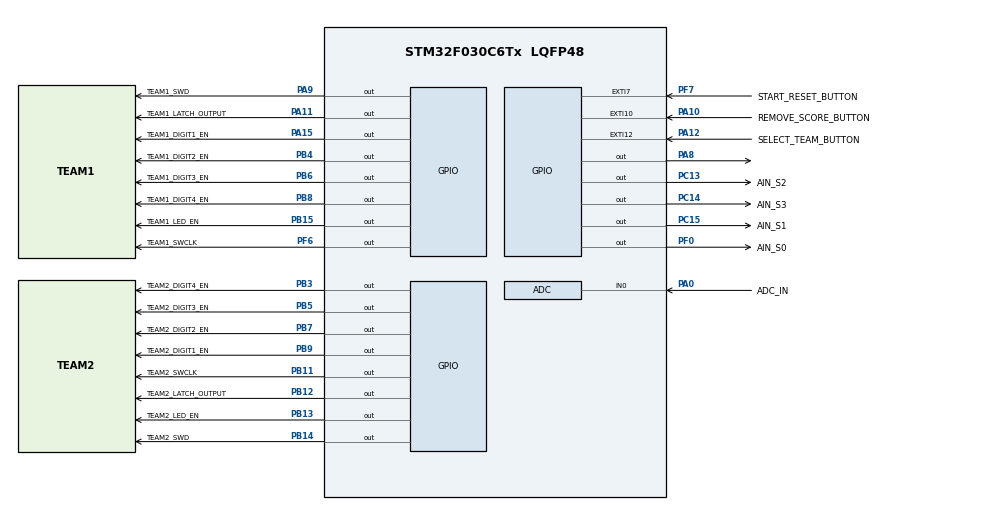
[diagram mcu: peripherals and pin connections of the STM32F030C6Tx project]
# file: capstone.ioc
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ADC.ClockPrescaler=ADC_CLOCK_ASYNC_DIV1
ADC.ContinuousConvMode=ENABLE
ADC.DMAContinuousRequests=ENABLE
Dma.ADC.0.Direction=DMA_PERIPH_TO_MEMORY
Dma.ADC.0.Instance=DMA1_Channel1
Dma.ADC.0.MemDataAlignment=DMA_MDATAALIGN_HALFWORD
Dma.ADC.0.MemInc=DMA_MINC_ENABLE
Dma.ADC.0.Mode=DMA_CIRCULAR
Dma.ADC.0.PeriphDataAlignment=DMA_PDATAALIGN_HALFWORD
Dma.ADC.0.PeriphInc=DMA_PINC_DISABLE
Dma.ADC.0.Priority=DMA_PRIORITY_LOW
Dma.Request0=ADC
Mcu.Family=STM32F0
Mcu.Name=STM32F030C6Tx
Mcu.Package=LQFP48
NVIC.DMA1_Channel1_IRQn=true\:0\:0\:false\:false\:true\:false\:true\:true
NVIC.TIM1_BRK_UP_TRG_COM_IRQn=true\:0\:0\:false\:false\:true\:true\:true\:true
NVIC.TIM1_CC_IRQn=true\:0\:0\:false\:false\:true\:true\:true\:true
NVIC.TIM3_IRQn=true\:0\:0\:false\:false\:true\:true\:true\:true
PA0.GPIO_Label=ADC_IN
PA0.Mode=IN0
PA0.Signal=ADC_IN0
PA10.GPIO_Label=REMOVE_SCORE_BUTTON
PA10.GPIO_ModeDefaultEXTI=GPIO_MODE_IT_FALLING
PA10.GPIO_PuPd=GPIO_PULLUP
PA10.Signal=GPXTI10
PA11.GPIO_Label=TEAM1_LATCH_OUTPUT
PA11.GPIO_PuPd=GPIO_PULLDOWN
PA11.Signal=GPIO_Output
PA12.GPIO_Label=SELECT_TEAM_BUTTON
PA12.GPIO_ModeDefaultEXTI=GPIO_MODE_IT_FALLING
PA12.GPIO_PuPd=GPIO_PULLUP
PA12.Signal=GPXTI12
PA13.GPIO_Label=SWDIO
PA13.Mode=Serial_Wire
PA13.Signal=SYS_SWDIO
PA14.GPIO_Label=SWCLK
PA14.Mode=Serial_Wire
PA14.Signal=SYS_SWCLK
PA15.GPIO_Label=TEAM1_DIGIT1_EN
PA15.GPIO_PuPd=GPIO_PULLDOWN
PA15.Signal=GPIO_Output
PA8.GPIO_PuPd=GPIO_PULLDOWN
PA8.Signal=GPIO_Output
PA9.GPIO_Label=TEAM1_SWD
PA9.GPIO_PuPd=GPIO_PULLDOWN
PA9.Signal=GPIO_Output
PB11.GPIO_Label=TEAM2_SWCLK
PB11.GPIO_PuPd=GPIO_PULLDOWN
PB11.Signal=GPIO_Output
PB12.GPIO_Label=TEAM2_LATCH_OUTPUT
PB12.GPIO_PuPd=GPIO_PULLDOWN
PB12.Signal=GPIO_Output
PB13.GPIO_Label=TEAM2_LED_EN
PB13.GPIO_PuPd=GPIO_PULLDOWN
PB13.Signal=GPIO_Output
PB14.GPIO_Label=TEAM2_SWD
PB14.GPIO_PuPd=GPIO_PULLDOWN
PB14.Signal=GPIO_Output
PB15.GPIO_Label=TEAM1_LED_EN
PB15.GPIO_PuPd=GPIO_PULLDOWN
PB15.Signal=GPIO_Output
PB3.GPIO_Label=TEAM2_DIGIT4_EN
PB3.GPIO_PuPd=GPIO_PULLDOWN
PB3.Signal=GPIO_Output
PB4.GPIO_Label=TEAM1_DIGIT2_EN
PB4.GPIO_PuPd=GPIO_PULLDOWN
PB4.Signal=GPIO_Output
PB5.GPIO_Label=TEAM2_DIGIT3_EN
PB5.GPIO_PuPd=GPIO_PULLDOWN
PB5.Signal=GPIO_Output
PB6.GPIO_Label=TEAM1_DIGIT3_EN
PB6.GPIO_PuPd=GPIO_PULLDOWN
PB6.Signal=GPIO_Output
PB7.GPIO_Label=TEAM2_DIGIT2_EN
PB7.GPIO_PuPd=GPIO_PULLDOWN
PB7.Signal=GPIO_Output
PB8.GPIO_Label=TEAM1_DIGIT4_EN
PB8.GPIO_PuPd=GPIO_PULLDOWN
PB8.Signal=GPIO_Output
PB9.GPIO_Label=TEAM2_DIGIT1_EN
PB9.GPIO_PuPd=GPIO_PULLDOWN
PB9.Signal=GPIO_Output
PC13.GPIO_Label=AIN_S2
PC13.GPIO_PuPd=GPIO_PULLDOWN
PC13.Signal=GPIO_Output
PC14-OSC32_IN.GPIO_Label=AIN_S3
PC14-OSC32_IN.GPIO_PuPd=GPIO_PULLDOWN
PC14-OSC32_IN.Signal=GPIO_Output
PC15-OSC32_OUT.GPIO_Label=AIN_S1
PC15-OSC32_OUT.GPIO_PuPd=GPIO_PULLDOWN
PC15-OSC32_OUT.Signal=GPIO_Output
PF0-OSC_IN.GPIO_Label=AIN_S0
PF0-OSC_IN.GPIO_PuPd=GPIO_PULLDOWN
PF0-OSC_IN.Signal=GPIO_Output
PF6.GPIO_Label=TEAM1_SWCLK
PF6.GPIO_PuPd=GPIO_PULLDOWN
PF6.Signal=GPIO_Output
PF7.GPIO_Label=START_RESET_BUTTON
PF7.GPIO_ModeDefaultEXTI=GPIO_MODE_IT_FALLING
PF7.GPIO_PuPd=GPIO_PULLUP
PF7.Signal=GPXTI7
ProjectManager.HeapSize=0x200
ProjectManager.StackSize=0x400
ProjectManager.TargetToolchain=STM32CubeIDE
TIM1.Period=50
TIM1.Prescaler=8000
TIM3.Period=3000
TIM3.Prescaler=8000
VP_TIM1_VS_ClockSourceINT.Mode=Internal
VP_TIM3_VS_ClockSourceINT.Mode=Internal
board=custom

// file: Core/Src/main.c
/* USER CODE BEGIN Header */
/**
  ******************************************************************************
  * @file           : main.c
  * @brief          : Main program body
  ******************************************************************************
  * @attention
  *
  * Copyright (c) 2024 STMicroelectronics.
  * All rights reserved.
  *
  * This software is licensed under terms that can be found in the LICENSE file
  * in the root directory of this software component.
  * If no LICENSE file comes with this software, it is provided AS-IS.
  *
  ******************************************************************************
  */
/* USER CODE END Header */
#include "main.h"
#include "adc.h"
#include "dma.h"
#include "tim.h"
#include "gpio.h"

/* USER CODE BEGIN Includes */
#include <math.h>
#include <stdbool.h>
#include <stdlib.h>
/* USER CODE END Includes */

/* USER CODE BEGIN PTD */
enum StartButtonRole
{
  RESTART,
  BEGIN,
  NONE
};
/* USER CODE END PTD */

/* USER CODE BEGIN PD */
void updateLEDs();
int getWeight(int);
void displayScore();
bool bounceFree(GPIO_TypeDef*, uint16_t);
void beginGame();
void restartGame();
void blinkScore();
void initializeBaseWeights();
int digitToHexDisplay(int);
void flashDigit(GPIO_TypeDef*, uint16_t, int);
int getRawWeight(int);
/* USER CODE END PD */

/* USER CODE BEGIN PV */
// Variables to help button logics
enum StartButtonRole startRole = BEGIN;
bool isSettingUp = true;

// Variables to help game logics
uint32_t adcValue = 0;
int holeScores[9] = { 50, 150, 75, 300, 500, 200, 25, 100, 25 };
int baseWeights[9] = { 0, 0, 0, 0, 0, 0, 0, 0, 0 };
int weightPerBag = 0;
int currentTeam = 1;
int team1Score = 123;
int team1TargetScore = 0;
int team1SetTargetScore = 0;
int team2Score = 0;
int team2TargetScore = 0;
int team2SetTargetScore = 0;

// See if buttons were pressed or held
bool startButtonPressed = false;
bool startButtonHeld = false;
bool selectTeamButtonPressed = false;
bool addScoreButtonPressed = false;
bool removeScoreButtonPressed = false;
bool addAndRemoveScoreButtonsHeld = false;
bool switchingTeam = false;
/* USER CODE END PV */

void SystemClock_Config(void);

int main(void)
{

  /* MCU Configuration--------------------------------------------------------*/

  /* Reset of all peripherals, Initializes the Flash interface and the Systick. */
  HAL_Init();

  /* Configure the system clock */
  SystemClock_Config();

  /* Initialize all configured peripherals */
  MX_GPIO_Init();
  MX_DMA_Init();
  MX_ADC_Init();
  MX_TIM1_Init();
  MX_TIM3_Init();
  /* USER CODE BEGIN 2 */
  HAL_ADCEx_Calibration_Start(&hadc);
  HAL_ADC_Start_DMA(&hadc, &adcValue, 1);
  HAL_TIM_Base_Start_IT(&htim1);
  HAL_TIM_Base_Stop_IT(&htim1);
  HAL_TIM_Base_Start_IT(&htim3);
  HAL_TIM_Base_Stop_IT(&htim3);
  initializeBaseWeights();
  /* USER CODE END 2 */

  /* Infinite loop */
  /* USER CODE BEGIN WHILE */
  while (1)
  {
    // ========== Game Logic ==========
    if (startRole == NONE)
    {
      // Calculate the total score from all holes
      int totalScore = 0;
      for (int i = 0; i < 9; i++)
      {
        totalScore += round(getWeight(i) / weightPerBag) * holeScores[i];
      }

      if (!switchingTeam)
      {
        if (currentTeam == 1)
        {
          // Game ends
          if (totalScore == team1TargetScore)
          {
            team1Score = 0;
            blinkScore();
          }
          else if (totalScore < team1TargetScore)
          {
            team1Score = team1TargetScore - totalScore;
          }
          else
          {
            if (currentTeam != 1) { continue; }
            team1Score = team1TargetScore;
            updateLEDs();
            blinkScore();
          }
        }
        else
        {
          // Game ends
          if (totalScore == team2TargetScore)
          {
            team2Score = 0;
            blinkScore();
          }
          else if (totalScore < team2TargetScore)
          {
            team2Score = team2TargetScore - totalScore;
          }
          else
          {
            if (currentTeam != 2) { continue; }
            team2Score = team2TargetScore;
            updateLEDs();
            blinkScore();
          }
        }
      }
      else
      {
        switchingTeam = totalScore != 0;
      }
    }

    // ========== Update the LEDs ==========
    team1TargetScore = getRawWeight(1);
    updateLEDs();
    displayScore();

    // ========== Button logics ==========
    // Reset
    if (startButtonHeld)
    {
      restartGame();
      startButtonHeld = false;
      __HAL_TIM_SET_COUNTER(&htim1, 0);
      while (HAL_GPIO_ReadPin(START_RESET_BUTTON_GPIO_Port, START_RESET_BUTTON_Pin) == GPIO_PIN_RESET);
      startButtonPressed = false;
    }
    // Start
    else if (startButtonPressed && bounceFree(START_RESET_BUTTON_GPIO_Port, START_RESET_BUTTON_Pin))
    {
      switch (startRole)
      {
        case RESTART:
          restartGame();
          break;
        case BEGIN:
          beginGame();
          break;
        default: break;
      }

      startButtonPressed = false;
    }
    // Calibrate
    else if (addAndRemoveScoreButtonsHeld && startRole == BEGIN)
    {
      isSettingUp = false;
      currentTeam = 1;
      weightPerBag = getWeight(0);
      team1Score = weightPerBag;
      addScoreButtonPressed = false;
    }
    // Select team
    else if (selectTeamButtonPressed && bounceFree(SELECT_TEAM_BUTTON_GPIO_Port, SELECT_TEAM_BUTTON_Pin))
    {
      if (currentTeam == 1)
      {
        currentTeam = 2;
        if (startRole == NONE)
        {
          team1TargetScore = team1Score;
          if (team1Score == 0) { startRole = RESTART; }
        }
      }
      else
      {
        currentTeam = 1;
        if (startRole == NONE)
        {
          team2TargetScore = team2Score;
          if (team2Score == 0) { startRole = RESTART; }
        }
      }

      switchingTeam = true;
      selectTeamButtonPressed = false;
    }
    // Add score
    else if(addScoreButtonPressed && bounceFree(ADD_SCORE_BUTTON_GPIO_Port, ADD_SCORE_BUTTON_Pin))
    {
      if (isSettingUp)
      {
        if (currentTeam == 1) { if (team1SetTargetScore < 9000) { team1SetTargetScore += 100; } }
        else if (team2SetTargetScore < 9000) { team2SetTargetScore += 100; }
      }
      // Manually adjust the score
      else
      {
        if (currentTeam == 1) { if (team1TargetScore < 9975) { team1TargetScore += 25; } }
        else if (team2TargetScore < 9975) { team2TargetScore += 25; }
      }
      addScoreButtonPressed = false;
    }
    // Remove score
    else if (removeScoreButtonPressed && bounceFree(REMOVE_SCORE_BUTTON_GPIO_Port, REMOVE_SCORE_BUTTON_Pin))
    {
      if (isSettingUp)
      {
        if (currentTeam == 1) { if (team1SetTargetScore >= 100) { team1SetTargetScore -= 100; } }
        else if (team2SetTargetScore >= 100) { team2SetTargetScore -= 100; }
      }
      // Manually adjust the score
      else
      {
        if (currentTeam == 1) { if (team1TargetScore >= 25) { team1TargetScore -= 25; } }
        else if (team2TargetScore >= 25) { team2TargetScore -= 25; }
      }
      removeScoreButtonPressed = false;
    }

    // Stop the "held for 3s" timers if the button is released early
    if (HAL_GPIO_ReadPin(START_RESET_BUTTON_GPIO_Port, START_RESET_BUTTON_Pin) == GPIO_PIN_SET)
    {
      __HAL_TIM_SET_COUNTER(&htim1, 0);
    }
    if (HAL_GPIO_ReadPin(ADD_SCORE_BUTTON_GPIO_Port, ADD_SCORE_BUTTON_Pin) == GPIO_PIN_SET)
//    if (HAL_GPIO_ReadPin(ADD_SCORE_BUTTON_GPIO_Port, ADD_SCORE_BUTTON_Pin) == GPIO_PIN_SET ||
//        HAL_GPIO_ReadPin(REMOVE_SCORE_BUTTON_GPIO_Port, REMOVE_SCORE_BUTTON_Pin) == GPIO_PIN_SET)
    {
      __HAL_TIM_SET_COUNTER(&htim3, 0);
    }
    /* USER CODE END WHILE */

  }
}

void SystemClock_Config(void)
{
  RCC_OscInitTypeDef RCC_OscInitStruct = {0};
  RCC_ClkInitTypeDef RCC_ClkInitStruct = {0};

  /** Initializes the RCC Oscillators according to the specified parameters
  * in the RCC_OscInitTypeDef structure.
  */
  RCC_OscInitStruct.OscillatorType = RCC_OSCILLATORTYPE_HSI|RCC_OSCILLATORTYPE_HSI14;
  RCC_OscInitStruct.HSIState = RCC_HSI_ON;
  RCC_OscInitStruct.HSI14State = RCC_HSI14_ON;
  RCC_OscInitStruct.HSICalibrationValue = RCC_HSICALIBRATION_DEFAULT;
  RCC_OscInitStruct.HSI14CalibrationValue = 16;
  RCC_OscInitStruct.PLL.PLLState = RCC_PLL_NONE;
  if (HAL_RCC_OscConfig(&RCC_OscInitStruct) != HAL_OK)
  {
    Error_Handler();
  }

  /** Initializes the CPU, AHB and APB buses clocks
  */
  RCC_ClkInitStruct.ClockType = RCC_CLOCKTYPE_HCLK|RCC_CLOCKTYPE_SYSCLK
                              |RCC_CLOCKTYPE_PCLK1;
  RCC_ClkInitStruct.SYSCLKSource = RCC_SYSCLKSOURCE_HSI;
  RCC_ClkInitStruct.AHBCLKDivider = RCC_SYSCLK_DIV1;
  RCC_ClkInitStruct.APB1CLKDivider = RCC_HCLK_DIV1;

  if (HAL_RCC_ClockConfig(&RCC_ClkInitStruct, FLASH_LATENCY_0) != HAL_OK)
  {
    Error_Handler();
  }
}

/* USER CODE BEGIN 4 */
void updateLEDs()
{
  HAL_GPIO_WritePin(TEAM1_LED_EN_GPIO_Port, TEAM1_LED_EN_Pin, (GPIO_PinState) (currentTeam == 1));
  HAL_GPIO_WritePin(TEAM2_LED_EN_GPIO_Port, TEAM2_LED_EN_Pin, (GPIO_PinState) (currentTeam == 2));
}

// Reset the game
void restartGame()
{
  startRole = BEGIN;
  isSettingUp = true;
  currentTeam = 1;
  startButtonPressed = false;
  startButtonHeld = false;
  selectTeamButtonPressed = false;
  addScoreButtonPressed = false;
  removeScoreButtonPressed = false;
  addAndRemoveScoreButtonsHeld = false;
  switchingTeam = false;
  initializeBaseWeights();

  // Stop the timers and reset their counters
  HAL_TIM_Base_Stop_IT(&htim1);
  __HAL_TIM_SET_COUNTER(&htim1, 0);
  HAL_TIM_Base_Stop_IT(&htim3);
  __HAL_TIM_SET_COUNTER(&htim3, 0);
}

// Get the total weight on the FSR, including the base
int getRawWeight(int fsrNum)
{
  // Set the MUX to get value from the interested FSR
  HAL_GPIO_WritePin(AIN_S0_GPIO_Port, AIN_S0_Pin, (GPIO_PinState) ((fsrNum >> 0) & 1));
  HAL_GPIO_WritePin(AIN_S1_GPIO_Port, AIN_S1_Pin, (GPIO_PinState) ((fsrNum >> 1) & 1));
  HAL_GPIO_WritePin(AIN_S2_GPIO_Port, AIN_S2_Pin, (GPIO_PinState) ((fsrNum >> 2) & 1));
  HAL_GPIO_WritePin(AIN_S3_GPIO_Port, AIN_S3_Pin, (GPIO_PinState) ((fsrNum >> 3) & 1));

  adcValue = HAL_ADC_GetValue(&hadc);
//  return exp((adcValue - 1384.04) / 307.17) + 19.98;
  return adcValue;
}

// Get the bean bag weight, excluding the base
int getWeight(int fsrNum)
{
  return getRawWeight(fsrNum) - baseWeights[fsrNum];
}

void initializeBaseWeights()
{
  for (int i = 0; i < 9; i++)
  {
    baseWeights[i] = getRawWeight(i);
  }
}

// Display an error message - The meaning of each error is documented in the manual
void displayError(int errorNumber)
{
  int currentTick = HAL_GetTick();
  while (HAL_GetTick() - currentTick < 2000)
  {
    flashDigit(TEAM1_DIGIT1_EN_GPIO_Port, TEAM1_DIGIT1_EN_Pin, 0b1001111); // E
    flashDigit(TEAM1_DIGIT2_EN_GPIO_Port, TEAM1_DIGIT2_EN_Pin, 0b0000101); // r
    flashDigit(TEAM1_DIGIT3_EN_GPIO_Port, TEAM1_DIGIT3_EN_Pin, 0b0000101); // r
    flashDigit(TEAM1_DIGIT4_EN_GPIO_Port, TEAM1_DIGIT4_EN_Pin, digitToHexDisplay(errorNumber));
  }
}

void beginGame()
{
  if (team1SetTargetScore > 0 && team2SetTargetScore > 0 && weightPerBag > 0)
  {
    startRole = NONE;
    isSettingUp = false;
    currentTeam = 1;
    team1TargetScore = team1SetTargetScore;
    team1Score = team1TargetScore;
    team2TargetScore = team2SetTargetScore;
    team2Score = team2TargetScore;
    addAndRemoveScoreButtonsHeld = false;
    __HAL_TIM_SET_COUNTER(&htim3, 0);
  }
  else
  {
    // Display the error on team 1 score board
    int oldCurrentTeam = currentTeam;
    currentTeam = 1;
    if (team1SetTargetScore <= 0)
    {
      displayError(1);
    }
    else if (team2SetTargetScore <= 0)
    {
      displayError(2);
    }
    else if (weightPerBag <= 0)
    {
      displayError(3);
    }
    currentTeam = oldCurrentTeam;
  }
}

int digitToHexDisplay(int digit) {
  switch (digit) {
      case 0: return 0b1111110;
      case 1: return 0b0110000;
      case 2: return 0b1101101;
      case 3: return 0b1111001;
      case 4: return 0b0110011;
      case 5: return 0b1011011;
      case 6: return 0b1011111;
      case 7: return 0b1110000;
      case 8: return 0b1111111;
      case 9: return 0b1111011;
      // If digit is out of range, turn off all segments
      default: return 0;
  }
}

void loadLatch(int data)
{
  if (currentTeam == 1)
  {
    for (int i = 0; i < 7; i++)
    {
      HAL_GPIO_WritePin(TEAM1_SWD_GPIO_Port, TEAM1_SWD_Pin, (GPIO_PinState) ((data >> i) & 1));
      HAL_GPIO_WritePin(TEAM1_SWCLK_GPIO_Port, TEAM1_SWCLK_Pin, GPIO_PIN_SET);
      HAL_GPIO_WritePin(TEAM1_SWCLK_GPIO_Port, TEAM1_SWCLK_Pin, GPIO_PIN_RESET);
    }
    HAL_GPIO_WritePin(TEAM1_LATCH_OUTPUT_GPIO_Port, TEAM1_LATCH_OUTPUT_Pin, GPIO_PIN_SET);
    HAL_GPIO_WritePin(TEAM1_LATCH_OUTPUT_GPIO_Port, TEAM1_LATCH_OUTPUT_Pin, GPIO_PIN_RESET);
  }
  else
  {
    for (int i = 0; i < 7; i++)
    {
      HAL_GPIO_WritePin(TEAM2_SWD_GPIO_Port, TEAM2_SWD_Pin, (GPIO_PinState) ((data >> i) & 1));
      HAL_GPIO_WritePin(TEAM2_SWCLK_GPIO_Port, TEAM2_SWCLK_Pin, GPIO_PIN_SET);
      HAL_GPIO_WritePin(TEAM2_SWCLK_GPIO_Port, TEAM2_SWCLK_Pin, GPIO_PIN_RESET);
    }
    HAL_GPIO_WritePin(TEAM2_LATCH_OUTPUT_GPIO_Port, TEAM2_LATCH_OUTPUT_Pin, GPIO_PIN_SET);
    HAL_GPIO_WritePin(TEAM2_LATCH_OUTPUT_GPIO_Port, TEAM2_LATCH_OUTPUT_Pin, GPIO_PIN_RESET);
  }
}

void flashDigit(GPIO_TypeDef* port, uint16_t pin, int data)
{
  loadLatch(data);
  HAL_GPIO_WritePin(port,pin, GPIO_PIN_SET);
  HAL_Delay(2);
  HAL_GPIO_WritePin(port,pin, GPIO_PIN_RESET);
}

void displayScore()
{
  if (currentTeam == 1)
  {
    int dig1 = (isSettingUp ? team1SetTargetScore : team1Score) / 1000;
    int dig2 = ((isSettingUp ? team1SetTargetScore : team1Score) / 100) % 10;
    int dig3 = ((isSettingUp ? team1SetTargetScore : team1Score) / 10) % 10;
    int dig4 = (isSettingUp ? team1SetTargetScore : team1Score) % 10;

    flashDigit(TEAM1_DIGIT1_EN_GPIO_Port, TEAM1_DIGIT1_EN_Pin, digitToHexDisplay(dig1));
    flashDigit(TEAM1_DIGIT2_EN_GPIO_Port, TEAM1_DIGIT2_EN_Pin, digitToHexDisplay(dig2));
    flashDigit(TEAM1_DIGIT3_EN_GPIO_Port, TEAM1_DIGIT3_EN_Pin, digitToHexDisplay(dig3));
    flashDigit(TEAM1_DIGIT4_EN_GPIO_Port, TEAM1_DIGIT4_EN_Pin, digitToHexDisplay(dig4));
  }
  else
  {
  int dig1 = (isSettingUp ? team2SetTargetScore : team2Score) / 1000;
  int dig2 = ((isSettingUp ? team2SetTargetScore : team2Score) / 100) % 10;
  int dig3 = ((isSettingUp ? team2SetTargetScore : team2Score) / 10) % 10;
  int dig4 = (isSettingUp ? team2SetTargetScore : team2Score) % 10;

    flashDigit(TEAM2_DIGIT1_EN_GPIO_Port, TEAM2_DIGIT1_EN_Pin, digitToHexDisplay(dig1));
    flashDigit(TEAM2_DIGIT2_EN_GPIO_Port, TEAM2_DIGIT2_EN_Pin, digitToHexDisplay(dig2));
    flashDigit(TEAM2_DIGIT3_EN_GPIO_Port, TEAM2_DIGIT3_EN_Pin, digitToHexDisplay(dig3));
    flashDigit(TEAM2_DIGIT4_EN_GPIO_Port, TEAM2_DIGIT4_EN_Pin, digitToHexDisplay(dig4));
  }
}

void blinkScore()
{
  if (currentTeam == 1)
  {
    HAL_GPIO_WritePin(TEAM1_DIGIT1_EN_GPIO_Port, TEAM1_DIGIT1_EN_Pin, GPIO_PIN_RESET);
    HAL_GPIO_WritePin(TEAM1_DIGIT2_EN_GPIO_Port, TEAM1_DIGIT2_EN_Pin, GPIO_PIN_RESET);
    HAL_GPIO_WritePin(TEAM1_DIGIT3_EN_GPIO_Port, TEAM1_DIGIT3_EN_Pin, GPIO_PIN_RESET);
    HAL_GPIO_WritePin(TEAM1_DIGIT4_EN_GPIO_Port, TEAM1_DIGIT4_EN_Pin, GPIO_PIN_RESET);
  }
  else
  {
    HAL_GPIO_WritePin(TEAM2_DIGIT1_EN_GPIO_Port, TEAM2_DIGIT1_EN_Pin, GPIO_PIN_RESET);
    HAL_GPIO_WritePin(TEAM2_DIGIT2_EN_GPIO_Port, TEAM2_DIGIT2_EN_Pin, GPIO_PIN_RESET);
    HAL_GPIO_WritePin(TEAM2_DIGIT3_EN_GPIO_Port, TEAM2_DIGIT3_EN_Pin, GPIO_PIN_RESET);
    HAL_GPIO_WritePin(TEAM2_DIGIT4_EN_GPIO_Port, TEAM2_DIGIT4_EN_Pin, GPIO_PIN_RESET);
  }

  int blinkTime = 500;
  HAL_Delay(blinkTime);
  int currentTick = HAL_GetTick();
  while (HAL_GetTick() - currentTick < blinkTime)
  {
    displayScore();
  }
}

// De-bounce the button
bool bounceFree(GPIO_TypeDef* port, uint16_t pin)
{
  uint32_t tickStart = HAL_GetTick();
  while (HAL_GPIO_ReadPin(port, pin) == GPIO_PIN_SET)
  {
    // If the button is not jumping for 50ms straight, it's good
    if ((HAL_GetTick() - tickStart) > 250)
    {
      return true;
    }
  }

  return false;
}

// GPIO Interrupt handler
void HAL_GPIO_EXTI_Callback(uint16_t GPIO_Pin)
{
  switch (GPIO_Pin)
  {
    case START_RESET_BUTTON_Pin:
    {
      startButtonPressed = true;
      HAL_TIM_Base_Start_IT(&htim1);
      break;
    }
    case SELECT_TEAM_BUTTON_Pin:
    {
      selectTeamButtonPressed = true;
      break;
    }
    case ADD_SCORE_BUTTON_Pin:
    {
      addScoreButtonPressed = true;
      HAL_TIM_Base_Start_IT(&htim3);

//      if (HAL_GPIO_ReadPin(REMOVE_SCORE_BUTTON_GPIO_Port, REMOVE_SCORE_BUTTON_Pin) == GPIO_PIN_RESET)
//      {
//        HAL_TIM_Base_Start_IT(&htim3);
//      }
//      else
//      {
//        addScoreButtonPressed = true;
//      }
      break;
    }
    case REMOVE_SCORE_BUTTON_Pin:
    {
      if (HAL_GPIO_ReadPin(ADD_SCORE_BUTTON_GPIO_Port, ADD_SCORE_BUTTON_Pin) == GPIO_PIN_RESET)
      {
        HAL_TIM_Base_Start_IT(&htim3);
      }
      else
      {
        removeScoreButtonPressed = true;
      }
      break;
    }
    default: break;
  }
}

// Timer interrupt handler
void HAL_TIM_PeriodElapsedCallback(TIM_HandleTypeDef *htim)
{
  if (htim->Instance == TIM1 &&
      HAL_GPIO_ReadPin(START_RESET_BUTTON_GPIO_Port, START_RESET_BUTTON_Pin) == GPIO_PIN_RESET)
  {
    startButtonHeld = true;
  }
  else if (htim->Instance == TIM3 &&
           HAL_GPIO_ReadPin(ADD_SCORE_BUTTON_GPIO_Port, ADD_SCORE_BUTTON_Pin) == GPIO_PIN_RESET &&
           HAL_GPIO_ReadPin(REMOVE_SCORE_BUTTON_GPIO_Port, REMOVE_SCORE_BUTTON_Pin) == GPIO_PIN_RESET)
  {
    addAndRemoveScoreButtonsHeld = true;
  }
  else if (htim->Instance == TIM3 &&
      HAL_GPIO_ReadPin(ADD_SCORE_BUTTON_GPIO_Port, ADD_SCORE_BUTTON_Pin) == GPIO_PIN_RESET)
  {
    addAndRemoveScoreButtonsHeld = true;
  }
}
/* USER CODE END 4 */

void Error_Handler(void)
{
  __disable_irq();
  while (1)
  {
  }
}
